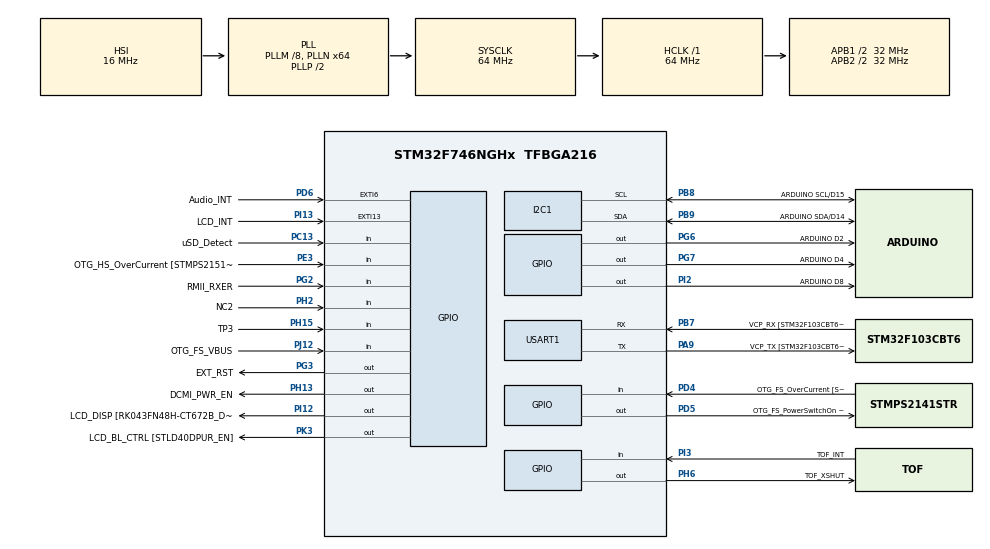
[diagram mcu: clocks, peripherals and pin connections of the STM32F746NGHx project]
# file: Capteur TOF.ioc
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I2C1.Timing=0x00707CBB
Mcu.Family=STM32F7
Mcu.Name=STM32F746NGHx
Mcu.Package=TFBGA216
NVIC.PriorityGroup=NVIC_PRIORITYGROUP_4
PA0/WKUP.GPIO_Label=ARDUINO A0
PA0/WKUP.GPIO_Mode=GPIO_MODE_ANALOG
PA0/WKUP.GPIO_PuPd=GPIO_NOPULL
PA0/WKUP.Signal=ADCx_IN0
PA1.GPIO_Label=RMII_REF_CLK [LAN8742A-CZ-TR_REFCLK0]
PA1.Signal=ETH_REF_CLK
PA10.GPIO_Label=OTG_FS_ID
PA10.Signal=USB_OTG_FS_ID
PA11.GPIO_Label=OTG_FS_N
PA11.Signal=USB_OTG_FS_DM
PA12.GPIO_Label=OTG_FS_P
PA12.Signal=USB_OTG_FS_DP
PA13.GPIO_Label=SWDIO
PA13.Mode=Serial_Wire
PA13.Signal=SYS_JTMS-SWDIO
PA14.GPIO_Label=SWCLK
PA14.Mode=Serial_Wire
PA14.Signal=SYS_JTCK-SWCLK
PA15.GPIO_Label=ARDUINO PWM/D9
PA15.GPIO_ModeDefaultPP=GPIO_MODE_AF_PP
PA15.GPIO_PuPd=GPIO_NOPULL
PA15.GPIO_Speed=GPIO_SPEED_FREQ_LOW
PA15.Signal=S_TIM2_CH1_ETR
PA2.GPIO_Label=RMII_MDIO [LAN8742A-CZ-TR_MDIO]
PA2.Signal=ETH_MDIO
PA3.GPIO_Label=ULPI_D0 [USB3320C-EZK_D0]
PA3.Signal=USB_OTG_HS_ULPI_D0
PA4.GPIO_Label=DCMI_HSYNC
PA4.Signal=DCMI_HSYNC
PA5.GPIO_Label=ULPI_CLK [USB3320C-EZK_CLKOUT]
PA5.Signal=USB_OTG_HS_ULPI_CK
PA6.Signal=DCMI_PIXCLK
PA7.GPIO_Label=RMII_CRS_DV [LAN8742A-CZ-TR_CRS_DV]
PA7.Signal=ETH_CRS_DV
PA8.GPIO_Label=ARDUINO PWM/D10
PA8.GPIO_ModeDefaultPP=GPIO_MODE_AF_PP
PA8.GPIO_PuPd=GPIO_NOPULL
PA8.GPIO_Speed=GPIO_SPEED_FREQ_LOW
PA8.Signal=S_TIM1_CH1
PA9.GPIO_Label=VCP_TX [STM32F103CBT6_PA3]
PA9.GPIO_Mode=GPIO_MODE_AF_PP
PA9.GPIO_PuPd=GPIO_NOPULL
PA9.GPIO_Speed=GPIO_SPEED_FREQ_LOW
PA9.Mode=Asynchronous
PA9.Signal=USART1_TX
PB0.GPIO_Label=ULPI_D1 [USB3320C-EZK_D1]
PB0.Signal=USB_OTG_HS_ULPI_D1
PB1.GPIO_Label=ULPI_D2 [USB3320C-EZK_D2]
PB1.Signal=USB_OTG_HS_ULPI_D2
PB10.GPIO_Label=ULPI_D3 [USB3320C-EZK_D3]
PB10.Signal=USB_OTG_HS_ULPI_D3
PB11.GPIO_Label=ULPI_D4 [USB3320C-EZK_D4]
PB11.Signal=USB_OTG_HS_ULPI_D4
PB12.GPIO_Label=ULPI_D5 [USB3320C-EZK_D5]
PB12.Signal=USB_OTG_HS_ULPI_D5
PB13.GPIO_Label=ULPI_D6 [USB3320C-EZK_D6]
PB13.Signal=USB_OTG_HS_ULPI_D6
PB14.GPIO_Label=ARDUINO MISO/D12
PB14.GPIO_Mode=GPIO_MODE_AF_PP
PB14.GPIO_PuPd=GPIO_NOPULL
PB14.GPIO_Speed=GPIO_SPEED_FREQ_LOW
PB14.Signal=SPI2_MISO
PB15.GPIO_Label=ARDUINO MOSI/PWM/D11
PB15.GPIO_Mode=GPIO_MODE_AF_PP
PB15.GPIO_PuPd=GPIO_NOPULL
PB15.GPIO_Speed=GPIO_SPEED_FREQ_LOW
PB15.Signal=SPI2_MOSI
PB2.Signal=QUADSPI_CLK
PB3.GPIO_Label=SWO
PB3.Signal=SYS_JTDO-SWO
PB4.GPIO_Label=ARDUINO PWM/D3
PB4.GPIO_ModeDefaultPP=GPIO_MODE_AF_PP
PB4.GPIO_PuPd=GPIO_NOPULL
PB4.GPIO_Speed=GPIO_SPEED_FREQ_LOW
PB4.Signal=S_TIM3_CH1
PB5.GPIO_Label=ULPI_D7 [USB3320C-EZK_D7]
PB5.Signal=USB_OTG_HS_ULPI_D7
PB6.GPIO_Label=QSPI_NCS [N25Q128A13EF840E_S]
PB6.Signal=QUADSPI_BK1_NCS
PB7.GPIO_Label=VCP_RX [STM32F103CBT6_PA2]
PB7.GPIO_Mode=GPIO_MODE_AF_PP
PB7.GPIO_PuPd=GPIO_NOPULL
PB7.GPIO_Speed=GPIO_SPEED_FREQ_LOW
PB7.Mode=Asynchronous
PB7.Signal=USART1_RX
PB8.GPIO_Label=ARDUINO SCL/D15
PB8.GPIO_Mode=GPIO_MODE_AF_OD
PB8.GPIO_PuPd=GPIO_NOPULL
PB8.GPIO_Speed=GPIO_SPEED_FREQ_LOW
PB8.Mode=I2C
PB8.Signal=I2C1_SCL
PB9.GPIO_Label=ARDUINO SDA/D14
PB9.GPIO_Mode=GPIO_MODE_AF_OD
PB9.GPIO_PuPd=GPIO_NOPULL
PB9.GPIO_Speed=GPIO_SPEED_FREQ_LOW
PB9.Mode=I2C
PB9.Signal=I2C1_SDA
PC0.GPIO_Label=ULPI_STP [USB3320C-EZK_STP]
PC0.Signal=USB_OTG_HS_ULPI_STP
PC1.GPIO_Label=RMII_MDC [LAN8742A-CZ-TR_MDC]
PC1.Signal=ETH_MDC
PC10.GPIO_Label=SDMMC_D2
PC10.Signal=SDMMC1_D2
PC11.GPIO_Label=SDMMC_D3
PC11.Signal=SDMMC1_D3
PC12.GPIO_Label=SDMMC_CK
PC12.Signal=SDMMC1_CK
PC13.GPIO_Label=uSD_Detect
PC13.Signal=GPIO_Input
PC14/OSC32_IN.GPIO_Label=RCC_OSC32_IN
PC14/OSC32_IN.Signal=RCC_OSC32_IN
PC15/OSC32_OUT.GPIO_Label=RCC_OSC32_OUT
PC15/OSC32_OUT.Signal=RCC_OSC32_OUT
PC2.GPIO_Label=ULPI_DIR [USB3320C-EZK_DIR]
PC2.Signal=USB_OTG_HS_ULPI_DIR
PC3.GPIO_Label=FMC_SDCKE0 [MT48LC4M32B2B5-6A_CKE]
PC3.Signal=FMC_SDCKE0
PC4.GPIO_Label=RMII_RXD0 [LAN8742A-CZ-TR_RXD0]
PC4.Signal=ETH_RXD0
PC5.GPIO_Label=RMII_RXD1 [LAN8742A-CZ-TR_RXD1]
PC5.Signal=ETH_RXD1
PC6.GPIO_Label=ARDUINO TX/D1
PC6.Signal=USART6_TX
PC7.GPIO_Label=ARDUINO RX/D0
PC7.Signal=USART6_RX
PC8.Signal=SDMMC1_D0
PC9.Signal=SDMMC1_D1
PD0.GPIO_Label=FMC_D2 [MT48LC4M32B2B5-6A_DQ2]
PD0.Signal=FMC_D2_DA2
PD1.GPIO_Label=FMC_D3 [MT48LC4M32B2B5-6A_DQ3]
PD1.Signal=FMC_D3_DA3
PD10.GPIO_Label=FMC_D15 [MT48LC4M32B2B5-6A_DQ15]
PD10.Signal=FMC_D15_DA15
PD11.GPIO_Label=QSPI_D0 [N25Q128A13EF840E_DQ0]
PD11.Signal=QUADSPI_BK1_IO0
PD12.GPIO_Label=QSPI_D1 [N25Q128A13EF840E_DQ1]
PD12.Signal=QUADSPI_BK1_IO1
PD13.GPIO_Label=QSPI_D3 [N25Q128A13EF840E_DQ3]
PD13.Signal=QUADSPI_BK1_IO3
PD14.GPIO_Label=FMC_D0 [MT48LC4M32B2B5-6A_DQ0]
PD14.Signal=FMC_D0_DA0
PD15.GPIO_Label=FMC_D1 [MT48LC4M32B2B5-6A_DQ1]
PD15.Signal=FMC_D1_DA1
PD2.GPIO_Label=SDMMC_D0
PD2.Signal=SDMMC1_CMD
PD3.GPIO_Label=DCMI_D5
PD3.Signal=DCMI_D5
PD4.GPIO_Label=OTG_FS_OverCurrent [STMPS2141STR_Fault]
PD4.Signal=GPIO_Input
PD5.GPIO_Label=OTG_FS_PowerSwitchOn [STMPS2141STR_EN]
PD5.PinState=GPIO_PIN_SET
PD5.Signal=GPIO_Output
PD6.GPIO_Label=Audio_INT
PD6.GPIO_ModeDefaultEXTI=GPIO_MODE_EVT_RISING
PD6.Signal=GPXTI6
PD7.GPIO_Label=SPDIF_RX0 [74LVC1G04SE_4]
PD7.Signal=SPDIFRX_IN0
PD8.GPIO_Label=FMC_D13 [MT48LC4M32B2B5-6A_DQ13]
PD8.Signal=FMC_D13_DA13
PD9.GPIO_Label=FMC_D14 [MT48LC4M32B2B5-6A_DQ14]
PD9.Signal=FMC_D14_DA14
PE0.GPIO_Label=FMC_NBL0 [MT48LC4M32B2B5-6A_DQM0]
PE0.Signal=FMC_NBL0
PE1.GPIO_Label=FMC_NBL1 [MT48LC4M32B2B5-6A_DQM1]
PE1.Signal=FMC_NBL1
PE10.GPIO_Label=FMC_D7 [MT48LC4M32B2B5-6A_DQ7]
PE10.Signal=FMC_D7_DA7
PE11.GPIO_Label=FMC_D8 [MT48LC4M32B2B5-6A_DQ8]
PE11.Signal=FMC_D8_DA8
PE12.GPIO_Label=FMC_D9 [MT48LC4M32B2B5-6A_DQ9]
PE12.Signal=FMC_D9_DA9
PE13.GPIO_Label=FMC_D10 [MT48LC4M32B2B5-6A_DQ10]
PE13.Signal=FMC_D10_DA10
PE14.GPIO_Label=FMC_D11 [MT48LC4M32B2B5-6A_DQ11]
PE14.Signal=FMC_D11_DA11
PE15.GPIO_Label=FMC_D12 [MT48LC4M32B2B5-6A_DQ12]
PE15.Signal=FMC_D12_DA12
PE2.GPIO_Label=QSPI_D2 [N25Q128A13EF840E_DQ2]
PE2.Signal=QUADSPI_BK1_IO2
PE3.GPIO_Label=OTG_HS_OverCurrent [STMPS2151STR_FAULT]
PE3.Signal=GPIO_Input
PE4.GPIO_Label=LCD_B0 [RK043FN48H-CT672B_B0]
PE4.Signal=LTDC_B0
PE5.GPIO_Label=DCMI_D6
PE5.Signal=DCMI_D6
PE6.GPIO_Label=DCMI_D7
PE6.Signal=DCMI_D7
PE7.GPIO_Label=FMC_D4 [MT48LC4M32B2B5-6A_DQ4]
PE7.Signal=FMC_D4_DA4
PE8.GPIO_Label=FMC_D5 [MT48LC4M32B2B5-6A_DQ5]
PE8.Signal=FMC_D5_DA5
PE9.GPIO_Label=FMC_D6 [MT48LC4M32B2B5-6A_DQ6]
PE9.Signal=FMC_D6_DA6
PF0.GPIO_Label=FMC_A0 [MT48LC4M32B2B5-6A_A0]
PF0.Signal=FMC_A0
PF1.GPIO_Label=FMC_A1 [MT48LC4M32B2B5-6A_A1]
PF1.Signal=FMC_A1
PF10.GPIO_Label=ARDUINO A1
PF10.GPIO_Mode=GPIO_MODE_ANALOG
PF10.GPIO_PuPd=GPIO_NOPULL
PF10.Signal=ADC3_IN8
PF11.GPIO_Label=FMC_SDNRAS [MT48LC4M32B2B5-6A_RAS]
PF11.Signal=FMC_SDNRAS
PF12.GPIO_Label=FMC_A6 [MT48LC4M32B2B5-6A_A6]
PF12.Signal=FMC_A6
PF13.GPIO_Label=FMC_A7 [MT48LC4M32B2B5-6A_A7]
PF13.Signal=FMC_A7
PF14.GPIO_Label=FMC_A8 [MT48LC4M32B2B5-6A_A8]
PF14.Signal=FMC_A8
PF15.GPIO_Label=FMC_A9 [MT48LC4M32B2B5-6A_A9]
PF15.Signal=FMC_A9
PF2.GPIO_Label=FMC_A2 [MT48LC4M32B2B5-6A_A2]
PF2.Signal=FMC_A2
PF3.GPIO_Label=FMC_A3 [MT48LC4M32B2B5-6A_A3]
PF3.Signal=FMC_A3
PF4.GPIO_Label=FMC_A4 [MT48LC4M32B2B5-6A_A4]
PF4.Signal=FMC_A4
PF5.GPIO_Label=FMC_A5 [MT48LC4M32B2B5-6A_A5]
PF5.Signal=FMC_A5
PF6.GPIO_Label=ARDUINO A5
PF6.GPIO_Mode=GPIO_MODE_ANALOG
PF6.GPIO_PuPd=GPIO_NOPULL
PF6.Signal=ADC3_IN4
PF7.GPIO_Label=ARDUINO A4
PF7.GPIO_Mode=GPIO_MODE_ANALOG
PF7.GPIO_PuPd=GPIO_NOPULL
PF7.Signal=ADC3_IN5
PF8.GPIO_Label=ARDUINO A3
PF8.GPIO_Mode=GPIO_MODE_ANALOG
PF8.GPIO_PuPd=GPIO_NOPULL
PF8.Signal=ADC3_IN6
PF9.GPIO_Label=ARDUINO A2
PF9.GPIO_Mode=GPIO_MODE_ANALOG
PF9.GPIO_PuPd=GPIO_NOPULL
PF9.Signal=ADC3_IN7
PG0.GPIO_Label=FMC_A10 [MT48LC4M32B2B5-6A_A10]
PG0.Signal=FMC_A10
PG1.GPIO_Label=FMC_A11 [MT48LC4M32B2B5-6A_A11]
PG1.Signal=FMC_A11
PG10.GPIO_Label=SAI2_SDB [WM8994ECS/R_ADCDAT1]
PG10.Signal=SAI2_SD_B
PG11.GPIO_Label=RMII_TX_EN [LAN8742A-CZ-TR_TXEN]
PG11.Signal=ETH_TX_EN
PG12.GPIO_Label=LCD_B4 [RK043FN48H-CT672B_B4]
PG12.Signal=LTDC_B4
PG13.GPIO_Label=RMII_TXD0 [LAN8742A-CZ-TR_TXD0]
PG13.Signal=ETH_TXD0
PG14.GPIO_Label=RMII_TXD1 [LAN8742A-CZ-TR_TXD1]
PG14.Signal=ETH_TXD1
PG15.GPIO_Label=FMC_SDNCAS [MT48LC4M32B2B5-6A_CAS]
PG15.Signal=FMC_SDNCAS
PG2.GPIO_Label=RMII_RXER
PG2.Signal=GPIO_Input
PG3.GPIO_Label=EXT_RST
PG3.Signal=GPIO_Output
PG4.GPIO_Label=FMC_BA0 [MT48LC4M32B2B5-6A_BA0]
PG4.Signal=FMC_A14_BA0
PG5.GPIO_Label=FMC_BA1 [MT48LC4M32B2B5-6A_BA1]
PG5.Signal=FMC_A15_BA1
PG6.GPIO_Label=ARDUINO D2
PG6.Signal=GPIO_Output
PG7.GPIO_Label=ARDUINO D4
PG7.Signal=GPIO_Output
PG8.GPIO_Label=FMC_SDCLK [MT48LC4M32B2B5-6A_CLK]
PG8.Signal=FMC_SDCLK
PG9.GPIO_Label=DCMI_VSYNC
PG9.Signal=DCMI_VSYNC
PH0/OSC_IN.GPIO_Label=OSC_25M [NZ2520SB-25.00M_OUT]
PH0/OSC_IN.Mode=HSE-External-Oscillator
PH0/OSC_IN.Signal=RCC_OSC_IN
PH1/OSC_OUT.Mode=HSE-External-Oscillator
PH1/OSC_OUT.Signal=RCC_OSC_OUT
PH10.GPIO_Label=DCMI_D1
PH10.Signal=DCMI_D1
PH11.GPIO_Label=DCMI_D2
PH11.Signal=DCMI_D2
PH12.GPIO_Label=DCMI_D3
PH12.Signal=DCMI_D3
PH13.GPIO_Label=DCMI_PWR_EN
PH13.Signal=GPIO_Output
PH14.GPIO_Label=DCMI_D4
PH14.Signal=DCMI_D4
PH15.GPIO_Label=TP3
PH15.Signal=GPIO_Input
PH2.GPIO_Label=NC2
PH2.Signal=GPIO_Input
PH3.GPIO_Label=FMC_SDNE0 [MT48LC4M32B2B5-6A_CS]
PH3.Signal=FMC_SDNE0
PH4.GPIO_Label=ULPI_NXT [USB3320C-EZK_NXT]
PH4.Signal=USB_OTG_HS_ULPI_NXT
PH5.GPIO_Label=FMC_SDNME [MT48LC4M32B2B5-6A_WE]
PH5.Signal=FMC_SDNWE
PH6.GPIO_Label=TOF_XSHUT
PH6.Signal=GPIO_Output
PH7.GPIO_Label=LCD_SCL [RK043FN48H-CT672B_SCL]
PH7.Signal=I2C3_SCL
PH8.GPIO_Label=LCD_SDA [RK043FN48H-CT672B_SDA]
PH8.Signal=I2C3_SDA
PH9.GPIO_Label=DCMI_D0
PH9.Signal=DCMI_D0
PI0.GPIO_Label=ARDUINO PWM/CS/D5
PI0.GPIO_ModeDefaultPP=GPIO_MODE_AF_PP
PI0.GPIO_PuPd=GPIO_NOPULL
PI0.GPIO_Speed=GPIO_SPEED_FREQ_LOW
PI0.Signal=S_TIM5_CH4
PI1.GPIO_Label=ARDUINO SCK/D13
PI1.GPIO_Mode=GPIO_MODE_AF_PP
PI1.GPIO_PuPd=GPIO_NOPULL
PI1.GPIO_Speed=GPIO_SPEED_FREQ_LOW
PI1.Signal=SPI2_SCK
PI10.GPIO_Label=LCD_HSYNC [RK043FN48H-CT672B_HSYNC]
PI10.Signal=LTDC_HSYNC
PI12.GPIO_Label=LCD_DISP [RK043FN48H-CT672B_DISP] 
PI12.Signal=GPIO_Output
PI13.GPIO_Label=LCD_INT
PI13.GPIO_ModeDefaultEXTI=GPIO_MODE_EVT_RISING
PI13.Signal=GPXTI13
PI14.GPIO_Label=LCD_CLK [RK043FN48H-CT672B_CLK]
PI14.Signal=LTDC_CLK
PI15.GPIO_Label=LCD_R0 [RK043FN48H-CT672B_R0]
PI15.Signal=LTDC_R0
PI2.GPIO_Label=ARDUINO D8
PI2.Signal=GPIO_Output
PI3.GPIO_Label=TOF_INT
PI3.Signal=GPIO_Input
PI4.GPIO_Label=SAI2_MCLKA [WM8994ECS/R_MCLK1]
PI4.Signal=SAI2_MCLK_A
PI5.GPIO_Label=SAI2_SCKA [WM8994ECS/R_BCLK1]
PI5.Signal=SAI2_SCK_A
PI6.GPIO_Label=SAI2_SDA [WM8994ECS/R_DACDAT1]
PI6.Signal=SAI2_SD_A
PI7.GPIO_Label=SAI2_FSA [WM8994ECS/R_LRCLK1]
PI7.Signal=SAI2_FS_A
PI8.GPIO_Label=NC1 [TP2]
PI8.Signal=RTC_TS
PI9.GPIO_Label=LCD_VSYNC [RK043FN48H-CT672B_VSYNC]
PI9.Signal=LTDC_VSYNC
PJ0.GPIO_Label=LCD_R1 [RK043FN48H-CT672B_R1]
PJ0.Signal=LTDC_R1
PJ1.GPIO_Label=LCD_R2 [RK043FN48H-CT672B_R2]
PJ1.Signal=LTDC_R2
PJ10.GPIO_Label=LCD_G3 [RK043FN48H-CT672B_G3]
PJ10.Signal=LTDC_G3
PJ11.GPIO_Label=LCD_G4 [RK043FN48H-CT672B_G4]
PJ11.Signal=LTDC_G4
PJ12.GPIO_Label=OTG_FS_VBUS
PJ12.Signal=GPIO_Input
PJ13.GPIO_Label=LCD_B1 [RK043FN48H-CT672B_B1]
PJ13.Signal=LTDC_B1
PJ14.GPIO_Label=LCD_B2 [RK043FN48H-CT672B_B2]
PJ14.Signal=LTDC_B2
PJ15.GPIO_Label=LCD_B3 [RK043FN48H-CT672B_B3]
PJ15.Signal=LTDC_B3
PJ2.GPIO_Label=LCD_R3 [RK043FN48H-CT672B_R3]
PJ2.Signal=LTDC_R3
PJ3.GPIO_Label=LCD_R4 [RK043FN48H-CT672B_R4]
PJ3.Signal=LTDC_R4
PJ4.GPIO_Label=LCD_R5 [RK043FN48H-CT672B_R5]
PJ4.Signal=LTDC_R5
PJ5.GPIO_Label=LCD_R6 [RK043FN48H-CT672B_R6]
PJ5.Signal=LTDC_R6
PJ6.GPIO_Label=LCD_R7 [RK043FN48H-CT672B_R7]
PJ6.Signal=LTDC_R7
PJ7.GPIO_Label=LCD_G0 [RK043FN48H-CT672B_G0]
PJ7.Signal=LTDC_G0
PJ8.GPIO_Label=LCD_G1 [RK043FN48H-CT672B_G1]
PJ8.Signal=LTDC_G1
PJ9.GPIO_Label=LCD_G2 [RK043FN48H-CT672B_G2]
PJ9.Signal=LTDC_G2
PK0.GPIO_Label=LCD_G5 [RK043FN48H-CT672B_G5]
PK0.Signal=LTDC_G5
PK1.GPIO_Label=LCD_G6 [RK043FN48H-CT672B_G6]
PK1.Signal=LTDC_G6
PK2.GPIO_Label=LCD_G7 [RK043FN48H-CT672B_G7]
PK2.Signal=LTDC_G7
PK3.GPIO_Label=LCD_BL_CTRL [STLD40DPUR_EN]
PK3.Signal=GPIO_Output
PK4.GPIO_Label=LCD_B5 [RK043FN48H-CT672B_B5]
PK4.Signal=LTDC_B5
PK5.GPIO_Label=LCD_B6 [RK043FN48H-CT672B_B6]
PK5.Signal=LTDC_B6
PK6.GPIO_Label=LCD_B7 [RK043FN48H-CT672B_B7]
PK6.Signal=LTDC_B7
PK7.GPIO_Label=LCD_DE [RK043FN48H-CT672B_DE]
PK7.Signal=LTDC_DE
ProjectManager.HeapSize=0x200
ProjectManager.StackSize=0x400
ProjectManager.TargetToolchain=STM32CubeIDE
RCC.AHBFreq_Value=64000000
RCC.APB1CLKDivider=RCC_HCLK_DIV2
RCC.APB1Freq_Value=32000000
RCC.APB1TimFreq_Value=64000000
RCC.APB2CLKDivider=RCC_HCLK_DIV2
RCC.APB2Freq_Value=32000000
RCC.APB2TimFreq_Value=64000000
RCC.CortexFreq_Value=64000000
RCC.HCLKFreq_Value=64000000
RCC.HSE_VALUE=25000000
RCC.HSI_VALUE=16000000
RCC.LSE_VALUE=32768
RCC.PLLM=8
RCC.PLLN=64
RCC.PLLSourceVirtual=RCC_PLLSOURCE_HSI
RCC.SYSCLKFreq_VALUE=64000000
RCC.SYSCLKSource=RCC_SYSCLKSOURCE_PLLCLK
RCC.USBFreq_Value=64000000
RCC.VCOOutputFreq_Value=128000000
SH.ADCx_IN0.0=ADC3_IN0
SH.FMC_A0.0=FMC_A0
SH.FMC_A1.0=FMC_A1
SH.FMC_A10.0=FMC_A10
SH.FMC_A11.0=FMC_A11
SH.FMC_A14_BA0.0=FMC_BA0
SH.FMC_A15_BA1.0=FMC_BA1
SH.FMC_A2.0=FMC_A2
SH.FMC_A3.0=FMC_A3
SH.FMC_A4.0=FMC_A4
SH.FMC_A5.0=FMC_A5
SH.FMC_A6.0=FMC_A6
SH.FMC_A7.0=FMC_A7
SH.FMC_A8.0=FMC_A8
SH.FMC_A9.0=FMC_A9
SH.FMC_D0_DA0.0=FMC_D0
SH.FMC_D10_DA10.0=FMC_D10
SH.FMC_D11_DA11.0=FMC_D11
SH.FMC_D12_DA12.0=FMC_D12
SH.FMC_D13_DA13.0=FMC_D13
SH.FMC_D14_DA14.0=FMC_D14
SH.FMC_D15_DA15.0=FMC_D15
SH.FMC_D1_DA1.0=FMC_D1
SH.FMC_D2_DA2.0=FMC_D2
SH.FMC_D3_DA3.0=FMC_D3
SH.FMC_D4_DA4.0=FMC_D4
SH.FMC_D5_DA5.0=FMC_D5
SH.FMC_D6_DA6.0=FMC_D6
SH.FMC_D7_DA7.0=FMC_D7
SH.FMC_D8_DA8.0=FMC_D8
SH.FMC_D9_DA9.0=FMC_D9
SH.FMC_NBL0.0=FMC_NBL0
SH.FMC_NBL1.0=FMC_NBL1
SH.FMC_SDCLK.0=FMC_SDCLK
SH.FMC_SDNCAS.0=FMC_SDNCAS
SH.FMC_SDNRAS.0=FMC_SDNRAS
SH.FMC_SDNWE.0=FMC_SDNWE
SH.S_TIM1_CH1.0=TIM1_CH1
SH.S_TIM2_CH1_ETR.0=TIM2_CH1
SH.S_TIM3_CH1.0=TIM3_CH1
SH.S_TIM5_CH4.0=TIM5_CH4
USART1.VirtualMode-Asynchronous=VM_ASYNC
board=STM32F746G-DISCO

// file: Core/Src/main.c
/* USER CODE BEGIN Header */
/**
  ******************************************************************************
  * @file           : main.c
  * @brief          : Main program body
  ******************************************************************************
  * @attention
  *
  * Copyright (c) 2022 STMicroelectronics.
  * All rights reserved.
  *
  * This software is licensed under terms that can be found in the LICENSE file
  * in the root directory of this software component.
  * If no LICENSE file comes with this software, it is provided AS-IS.
  *
  ******************************************************************************
  */
/* USER CODE END Header */
#include "main.h"
#include "i2c.h"
#include "usart.h"
#include "gpio.h"

/* USER CODE BEGIN Includes */
#include <stdio.h>
#include <vl53l0x_api.h>
/* USER CODE END Includes */

/* USER CODE BEGIN PV */
extern I2C_HandleTypeDef hi2c1;
extern UART_HandleTypeDef huart1;

uint8_t Message[64];
uint8_t MessageLen;

VL53L0X_RangingMeasurementData_t RangingData;
VL53L0X_Dev_t  vl53l0x_c; // center module
VL53L0X_DEV    Dev = &vl53l0x_c;
/* USER CODE END PV */

void SystemClock_Config(void);

int main(void)
{
  /* USER CODE BEGIN 1 */
	uint32_t refSpadCount;
	    uint8_t isApertureSpads;
	    uint8_t VhvSettings;
	    uint8_t PhaseCal;
  /* USER CODE END 1 */

  /* MCU Configuration--------------------------------------------------------*/

  /* Reset of all peripherals, Initializes the Flash interface and the Systick. */
  HAL_Init();

  /* Configure the system clock */
  SystemClock_Config();

  /* Initialize all configured peripherals */
  MX_GPIO_Init();
  MX_I2C1_Init();
  MX_USART1_UART_Init();
  /* USER CODE BEGIN 2 */
  MessageLen = sprintf((char*)Message, "VL53L0X test\n\r");
    HAL_UART_Transmit(&huart1, Message, MessageLen, 100);

    Dev->I2cHandle = &hi2c1;
      Dev->I2cDevAddr = 0x52;

      HAL_GPIO_WritePin(TOF_XSHUT_GPIO_Port, TOF_XSHUT_Pin, GPIO_PIN_RESET); // Disable XSHUT
      HAL_Delay(20);
      HAL_GPIO_WritePin(TOF_XSHUT_GPIO_Port, TOF_XSHUT_Pin, GPIO_PIN_SET); // Enable XSHUT
      HAL_Delay(20);

      // VL53L0X init for Single Measurement

        VL53L0X_WaitDeviceBooted( Dev );
        VL53L0X_DataInit( Dev );
        VL53L0X_StaticInit( Dev );
        VL53L0X_PerformRefCalibration(Dev, &VhvSettings, &PhaseCal);
        VL53L0X_PerformRefSpadManagement(Dev, &refSpadCount, &isApertureSpads);
        VL53L0X_SetDeviceMode(Dev, VL53L0X_DEVICEMODE_SINGLE_RANGING);

        // Enable/Disable Sigma and Signal check
          VL53L0X_SetLimitCheckEnable(Dev, VL53L0X_CHECKENABLE_SIGMA_FINAL_RANGE, 1);
          VL53L0X_SetLimitCheckEnable(Dev, VL53L0X_CHECKENABLE_SIGNAL_RATE_FINAL_RANGE, 1);
          VL53L0X_SetLimitCheckValue(Dev, VL53L0X_CHECKENABLE_SIGNAL_RATE_FINAL_RANGE, (FixPoint1616_t)(0.1*65536));
          VL53L0X_SetLimitCheckValue(Dev, VL53L0X_CHECKENABLE_SIGMA_FINAL_RANGE, (FixPoint1616_t)(60*65536));
          VL53L0X_SetMeasurementTimingBudgetMicroSeconds(Dev, 33000);
          VL53L0X_SetVcselPulsePeriod(Dev, VL53L0X_VCSEL_PERIOD_PRE_RANGE, 18);
          VL53L0X_SetVcselPulsePeriod(Dev, VL53L0X_VCSEL_PERIOD_FINAL_RANGE, 14);

  /* USER CODE END 2 */

  /* Infinite loop */
  /* USER CODE BEGIN WHILE */
  while (1)
  {
	  VL53L0X_PerformSingleRangingMeasurement(Dev, &RangingData);

	  	  if(RangingData.RangeStatus == 0)
	  	  {
	  		  MessageLen = sprintf((char*)Message, "Measured distance: %i\n\r", RangingData.RangeMilliMeter);
	  		  HAL_UART_Transmit(&huart1, Message, MessageLen, 100);
	  	  }
    /* USER CODE END WHILE */

  }
}

void SystemClock_Config(void)
{
  RCC_OscInitTypeDef RCC_OscInitStruct = {0};
  RCC_ClkInitTypeDef RCC_ClkInitStruct = {0};

  /** Configure the main internal regulator output voltage
  */
  __HAL_RCC_PWR_CLK_ENABLE();
  __HAL_PWR_VOLTAGESCALING_CONFIG(PWR_REGULATOR_VOLTAGE_SCALE3);
  /** Initializes the RCC Oscillators according to the specified parameters
  * in the RCC_OscInitTypeDef structure.
  */
  RCC_OscInitStruct.OscillatorType = RCC_OSCILLATORTYPE_HSI;
  RCC_OscInitStruct.HSIState = RCC_HSI_ON;
  RCC_OscInitStruct.HSICalibrationValue = RCC_HSICALIBRATION_DEFAULT;
  RCC_OscInitStruct.PLL.PLLState = RCC_PLL_ON;
  RCC_OscInitStruct.PLL.PLLSource = RCC_PLLSOURCE_HSI;
  RCC_OscInitStruct.PLL.PLLM = 8;
  RCC_OscInitStruct.PLL.PLLN = 64;
  RCC_OscInitStruct.PLL.PLLP = RCC_PLLP_DIV2;
  RCC_OscInitStruct.PLL.PLLQ = 2;
  if (HAL_RCC_OscConfig(&RCC_OscInitStruct) != HAL_OK)
  {
    Error_Handler();
  }
  /** Initializes the CPU, AHB and APB buses clocks
  */
  RCC_ClkInitStruct.ClockType = RCC_CLOCKTYPE_HCLK|RCC_CLOCKTYPE_SYSCLK
                              |RCC_CLOCKTYPE_PCLK1|RCC_CLOCKTYPE_PCLK2;
  RCC_ClkInitStruct.SYSCLKSource = RCC_SYSCLKSOURCE_PLLCLK;
  RCC_ClkInitStruct.AHBCLKDivider = RCC_SYSCLK_DIV1;
  RCC_ClkInitStruct.APB1CLKDivider = RCC_HCLK_DIV2;
  RCC_ClkInitStruct.APB2CLKDivider = RCC_HCLK_DIV2;

  if (HAL_RCC_ClockConfig(&RCC_ClkInitStruct, FLASH_LATENCY_2) != HAL_OK)
  {
    Error_Handler();
  }
}

void Error_Handler(void)
{
  __disable_irq();
  while (1)
  {
  }
}
